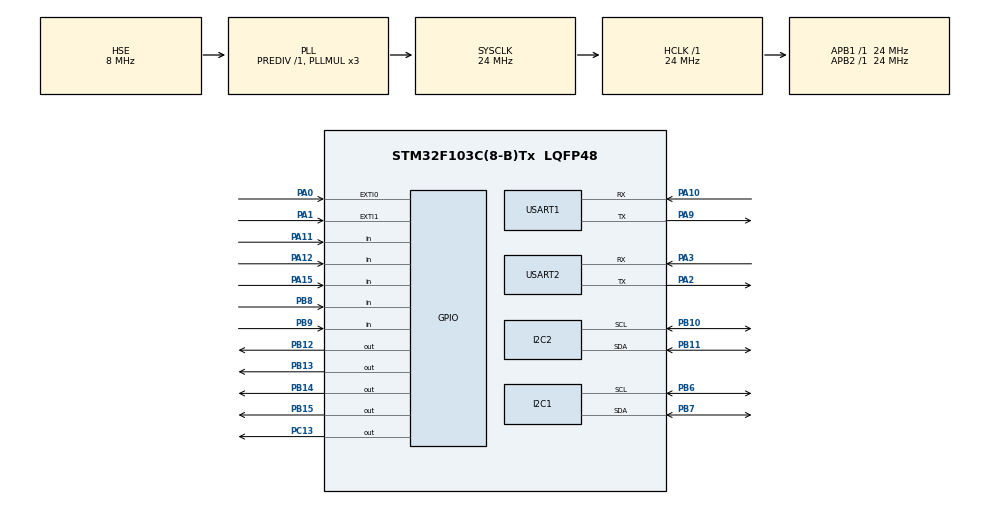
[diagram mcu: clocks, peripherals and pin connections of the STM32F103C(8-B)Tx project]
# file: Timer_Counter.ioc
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Mcu.Family=STM32F1
Mcu.Name=STM32F103C(8-B)Tx
Mcu.Package=LQFP48
NVIC.EXTI0_IRQn=true\:0\:0\:false\:false\:true\:true\:true\:true
NVIC.EXTI1_IRQn=true\:0\:0\:false\:false\:true\:true\:true\:true
NVIC.PriorityGroup=NVIC_PRIORITYGROUP_4
NVIC.USART2_IRQn=true\:0\:0\:false\:false\:true\:true\:true\:true
PA0-WKUP.GPIO_ModeDefaultEXTI=GPIO_MODE_IT_FALLING
PA0-WKUP.GPIO_PuPd=GPIO_PULLUP
PA0-WKUP.Signal=GPXTI0
PA1.GPIO_ModeDefaultEXTI=GPIO_MODE_IT_FALLING
PA1.GPIO_PuPd=GPIO_PULLUP
PA1.Signal=GPXTI1
PA10.Mode=Asynchronous
PA10.Signal=USART1_RX
PA11.GPIO_PuPd=GPIO_PULLUP
PA11.Signal=GPIO_Input
PA12.GPIO_PuPd=GPIO_PULLUP
PA12.Signal=GPIO_Input
PA13.Mode=Serial_Wire
PA13.Signal=SYS_JTMS-SWDIO
PA14.Mode=Serial_Wire
PA14.Signal=SYS_JTCK-SWCLK
PA15.Signal=GPIO_Input
PA2.Mode=Asynchronous
PA2.Signal=USART2_TX
PA3.Mode=Asynchronous
PA3.Signal=USART2_RX
PA9.Mode=Asynchronous
PA9.Signal=USART1_TX
PB10.Mode=I2C
PB10.Signal=I2C2_SCL
PB11.Mode=I2C
PB11.Signal=I2C2_SDA
PB12.Signal=GPIO_Output
PB13.Signal=GPIO_Output
PB14.Signal=GPIO_Output
PB15.Signal=GPIO_Output
PB6.Mode=I2C
PB6.Signal=I2C1_SCL
PB7.Mode=I2C
PB7.Signal=I2C1_SDA
PB8.GPIO_PuPd=GPIO_PULLUP
PB8.Signal=GPIO_Input
PB9.GPIO_PuPd=GPIO_PULLUP
PB9.Signal=GPIO_Input
PC13-TAMPER-RTC.Signal=GPIO_Output
PD0-OSC_IN.Mode=HSE-External-Oscillator
PD0-OSC_IN.Signal=RCC_OSC_IN
PD1-OSC_OUT.Mode=HSE-External-Oscillator
PD1-OSC_OUT.Signal=RCC_OSC_OUT
ProjectManager.HeapSize=0x200
ProjectManager.StackSize=0x400
ProjectManager.TargetToolchain=MDK-ARM V5.32
RCC.AHBFreq_Value=24000000
RCC.APB1Freq_Value=24000000
RCC.APB1TimFreq_Value=24000000
RCC.APB2Freq_Value=24000000
RCC.APB2TimFreq_Value=24000000
RCC.HCLKFreq_Value=24000000
RCC.PLLMUL=RCC_PLL_MUL3
RCC.PLLSourceVirtual=RCC_PLLSOURCE_HSE
RCC.SYSCLKFreq_VALUE=24000000
RCC.SYSCLKSource=RCC_SYSCLKSOURCE_PLLCLK
RCC.USBFreq_Value=24000000
TIM2.Prescaler=23
USART1.VirtualMode=VM_ASYNC
USART2.VirtualMode=VM_ASYNC
VP_TIM2_VS_ClockSourceINT.Mode=Internal
board=custom

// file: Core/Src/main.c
/* USER CODE BEGIN Header */
/**
  ******************************************************************************
  * @file           : main.c
  * @brief          : Main program body
  ******************************************************************************
  * @attention
  *
  * Copyright (c) 2026 STMicroelectronics.
  * All rights reserved.
  *
  * This software is licensed under terms that can be found in the LICENSE file
  * in the root directory of this software component.
  * If no LICENSE file comes with this software, it is provided AS-IS.
  *
  ******************************************************************************
  */
/* USER CODE END Header */
#include "main.h"

/* USER CODE BEGIN Includes */
#include "DS1307.h"
#include "Keypad.h"
#include "SSD1306.h"
#include "FontSSD1306.h"
#include "MH-R38.h"
#include "Menu_UI.h"
#include "HLK_LD2410.h"
/* USER CODE END Includes */

I2C_HandleTypeDef hi2c1;
I2C_HandleTypeDef hi2c2;

TIM_HandleTypeDef htim2;

UART_HandleTypeDef huart1;
UART_HandleTypeDef huart2;

/* USER CODE BEGIN PV */
volatile char key_pad = 0;
/* USER CODE END PV */

void SystemClock_Config(void);
static void MX_GPIO_Init(void);
static void MX_I2C1_Init(void);
static void MX_I2C2_Init(void);
static void MX_TIM2_Init(void);
static void MX_USART2_UART_Init(void);
static void MX_USART1_UART_Init(void);

int main(void)
{

  /* MCU Configuration--------------------------------------------------------*/

  /* Reset of all peripherals, Initializes the Flash interface and the Systick. */
  HAL_Init();

  /* Configure the system clock */
  SystemClock_Config();

  /* Initialize all configured peripherals */
  MX_GPIO_Init();
  MX_I2C1_Init();
  MX_I2C2_Init();
  MX_TIM2_Init();
  MX_USART2_UART_Init();
  MX_USART1_UART_Init();
  /* USER CODE BEGIN 2 */
	DS1307_Init();
	OLED_Init();
	OLED_Clear();
	IR_Init(&htim2);
	HLK_LD2410_Init(&huart2);

//  DS1307_SetTime(&time);

  /* USER CODE END 2 */

  /* Infinite loop */
  while (1)
  {

    /* USER CODE BEGIN 3 */

		char key_pad=Keypad_Read();
		uint32_t key_ir = Read_RM();
		UI_Proccess_Keypad(key_pad);
		UI_Proccess_IR(key_ir);
		UI_Render();
		HAL_Delay(50);
	}
  /* USER CODE END 3 */
}

void SystemClock_Config(void)
{
  RCC_OscInitTypeDef RCC_OscInitStruct = {0};
  RCC_ClkInitTypeDef RCC_ClkInitStruct = {0};

  /** Initializes the RCC Oscillators according to the specified parameters
  * in the RCC_OscInitTypeDef structure.
  */
  RCC_OscInitStruct.OscillatorType = RCC_OSCILLATORTYPE_HSE;
  RCC_OscInitStruct.HSEState = RCC_HSE_ON;
  RCC_OscInitStruct.HSEPredivValue = RCC_HSE_PREDIV_DIV1;
  RCC_OscInitStruct.HSIState = RCC_HSI_ON;
  RCC_OscInitStruct.PLL.PLLState = RCC_PLL_ON;
  RCC_OscInitStruct.PLL.PLLSource = RCC_PLLSOURCE_HSE;
  RCC_OscInitStruct.PLL.PLLMUL = RCC_PLL_MUL3;
  if (HAL_RCC_OscConfig(&RCC_OscInitStruct) != HAL_OK)
  {
    Error_Handler();
  }

  /** Initializes the CPU, AHB and APB buses clocks
  */
  RCC_ClkInitStruct.ClockType = RCC_CLOCKTYPE_HCLK|RCC_CLOCKTYPE_SYSCLK
                              |RCC_CLOCKTYPE_PCLK1|RCC_CLOCKTYPE_PCLK2;
  RCC_ClkInitStruct.SYSCLKSource = RCC_SYSCLKSOURCE_PLLCLK;
  RCC_ClkInitStruct.AHBCLKDivider = RCC_SYSCLK_DIV1;
  RCC_ClkInitStruct.APB1CLKDivider = RCC_HCLK_DIV1;
  RCC_ClkInitStruct.APB2CLKDivider = RCC_HCLK_DIV1;

  if (HAL_RCC_ClockConfig(&RCC_ClkInitStruct, FLASH_LATENCY_0) != HAL_OK)
  {
    Error_Handler();
  }
}

static void MX_I2C1_Init(void)
{

  hi2c1.Instance = I2C1;
  hi2c1.Init.ClockSpeed = 100000;
  hi2c1.Init.DutyCycle = I2C_DUTYCYCLE_2;
  hi2c1.Init.OwnAddress1 = 0;
  hi2c1.Init.AddressingMode = I2C_ADDRESSINGMODE_7BIT;
  hi2c1.Init.DualAddressMode = I2C_DUALADDRESS_DISABLE;
  hi2c1.Init.OwnAddress2 = 0;
  hi2c1.Init.GeneralCallMode = I2C_GENERALCALL_DISABLE;
  hi2c1.Init.NoStretchMode = I2C_NOSTRETCH_DISABLE;
  if (HAL_I2C_Init(&hi2c1) != HAL_OK)
  {
    Error_Handler();
  }

}

static void MX_I2C2_Init(void)
{

  hi2c2.Instance = I2C2;
  hi2c2.Init.ClockSpeed = 100000;
  hi2c2.Init.DutyCycle = I2C_DUTYCYCLE_2;
  hi2c2.Init.OwnAddress1 = 0;
  hi2c2.Init.AddressingMode = I2C_ADDRESSINGMODE_7BIT;
  hi2c2.Init.DualAddressMode = I2C_DUALADDRESS_DISABLE;
  hi2c2.Init.OwnAddress2 = 0;
  hi2c2.Init.GeneralCallMode = I2C_GENERALCALL_DISABLE;
  hi2c2.Init.NoStretchMode = I2C_NOSTRETCH_DISABLE;
  if (HAL_I2C_Init(&hi2c2) != HAL_OK)
  {
    Error_Handler();
  }

}

static void MX_TIM2_Init(void)
{

  TIM_ClockConfigTypeDef sClockSourceConfig = {0};
  TIM_MasterConfigTypeDef sMasterConfig = {0};

  htim2.Instance = TIM2;
  htim2.Init.Prescaler = 23;
  htim2.Init.CounterMode = TIM_COUNTERMODE_UP;
  htim2.Init.Period = 65535;
  htim2.Init.ClockDivision = TIM_CLOCKDIVISION_DIV1;
  htim2.Init.AutoReloadPreload = TIM_AUTORELOAD_PRELOAD_DISABLE;
  if (HAL_TIM_Base_Init(&htim2) != HAL_OK)
  {
    Error_Handler();
  }
  sClockSourceConfig.ClockSource = TIM_CLOCKSOURCE_INTERNAL;
  if (HAL_TIM_ConfigClockSource(&htim2, &sClockSourceConfig) != HAL_OK)
  {
    Error_Handler();
  }
  sMasterConfig.MasterOutputTrigger = TIM_TRGO_RESET;
  sMasterConfig.MasterSlaveMode = TIM_MASTERSLAVEMODE_DISABLE;
  if (HAL_TIMEx_MasterConfigSynchronization(&htim2, &sMasterConfig) != HAL_OK)
  {
    Error_Handler();
  }

}

static void MX_USART1_UART_Init(void)
{

  huart1.Instance = USART1;
  huart1.Init.BaudRate = 115200;
  huart1.Init.WordLength = UART_WORDLENGTH_8B;
  huart1.Init.StopBits = UART_STOPBITS_1;
  huart1.Init.Parity = UART_PARITY_NONE;
  huart1.Init.Mode = UART_MODE_TX_RX;
  huart1.Init.HwFlowCtl = UART_HWCONTROL_NONE;
  huart1.Init.OverSampling = UART_OVERSAMPLING_16;
  if (HAL_UART_Init(&huart1) != HAL_OK)
  {
    Error_Handler();
  }

}

static void MX_USART2_UART_Init(void)
{

  huart2.Instance = USART2;
  huart2.Init.BaudRate = 115200;
  huart2.Init.WordLength = UART_WORDLENGTH_8B;
  huart2.Init.StopBits = UART_STOPBITS_1;
  huart2.Init.Parity = UART_PARITY_NONE;
  huart2.Init.Mode = UART_MODE_TX_RX;
  huart2.Init.HwFlowCtl = UART_HWCONTROL_NONE;
  huart2.Init.OverSampling = UART_OVERSAMPLING_16;
  if (HAL_UART_Init(&huart2) != HAL_OK)
  {
    Error_Handler();
  }

}

static void MX_GPIO_Init(void)
{
  GPIO_InitTypeDef GPIO_InitStruct = {0};

  /* GPIO Ports Clock Enable */
  __HAL_RCC_GPIOC_CLK_ENABLE();
  __HAL_RCC_GPIOD_CLK_ENABLE();
  __HAL_RCC_GPIOA_CLK_ENABLE();
  __HAL_RCC_GPIOB_CLK_ENABLE();

  /*Configure GPIO pin Output Level */
  HAL_GPIO_WritePin(GPIOC, GPIO_PIN_13, GPIO_PIN_RESET);

  /*Configure GPIO pin Output Level */
  HAL_GPIO_WritePin(GPIOB, GPIO_PIN_12|GPIO_PIN_13|GPIO_PIN_14|GPIO_PIN_15, GPIO_PIN_RESET);

  /*Configure GPIO pin : PC13 */
  GPIO_InitStruct.Pin = GPIO_PIN_13;
  GPIO_InitStruct.Mode = GPIO_MODE_OUTPUT_PP;
  GPIO_InitStruct.Pull = GPIO_NOPULL;
  GPIO_InitStruct.Speed = GPIO_SPEED_FREQ_LOW;
  HAL_GPIO_Init(GPIOC, &GPIO_InitStruct);

  /*Configure GPIO pins : PA0 PA1 */
  GPIO_InitStruct.Pin = GPIO_PIN_0|GPIO_PIN_1;
  GPIO_InitStruct.Mode = GPIO_MODE_IT_FALLING;
  GPIO_InitStruct.Pull = GPIO_PULLUP;
  HAL_GPIO_Init(GPIOA, &GPIO_InitStruct);

  /*Configure GPIO pins : PB12 PB13 PB14 PB15 */
  GPIO_InitStruct.Pin = GPIO_PIN_12|GPIO_PIN_13|GPIO_PIN_14|GPIO_PIN_15;
  GPIO_InitStruct.Mode = GPIO_MODE_OUTPUT_PP;
  GPIO_InitStruct.Pull = GPIO_NOPULL;
  GPIO_InitStruct.Speed = GPIO_SPEED_FREQ_LOW;
  HAL_GPIO_Init(GPIOB, &GPIO_InitStruct);

  /*Configure GPIO pins : PA11 PA12 */
  GPIO_InitStruct.Pin = GPIO_PIN_11|GPIO_PIN_12;
  GPIO_InitStruct.Mode = GPIO_MODE_INPUT;
  GPIO_InitStruct.Pull = GPIO_PULLUP;
  HAL_GPIO_Init(GPIOA, &GPIO_InitStruct);

  /*Configure GPIO pin : PA15 */
  GPIO_InitStruct.Pin = GPIO_PIN_15;
  GPIO_InitStruct.Mode = GPIO_MODE_INPUT;
  GPIO_InitStruct.Pull = GPIO_NOPULL;
  HAL_GPIO_Init(GPIOA, &GPIO_InitStruct);

  /*Configure GPIO pins : PB8 PB9 */
  GPIO_InitStruct.Pin = GPIO_PIN_8|GPIO_PIN_9;
  GPIO_InitStruct.Mode = GPIO_MODE_INPUT;
  GPIO_InitStruct.Pull = GPIO_PULLUP;
  HAL_GPIO_Init(GPIOB, &GPIO_InitStruct);

  /* EXTI interrupt init*/
  HAL_NVIC_SetPriority(EXTI0_IRQn, 0, 0);
  HAL_NVIC_EnableIRQ(EXTI0_IRQn);

  HAL_NVIC_SetPriority(EXTI1_IRQn, 0, 0);
  HAL_NVIC_EnableIRQ(EXTI1_IRQn);

}

/* USER CODE BEGIN 4 */
void HAL_GPIO_EXTI_Callback(uint16_t GPIO_Pin)
{

    if(GPIO_Pin == GPIO_PIN_0)
    {

    }
		if(GPIO_Pin == GPIO_PIN_1)
    {
        IR_EXTI_Handler(); // Gọi cái hàm ông viết ở file MH-R38.c
    }

}
/* USER CODE END 4 */

void Error_Handler(void)
{
  __disable_irq();
  while (1)
  {
  }
}
